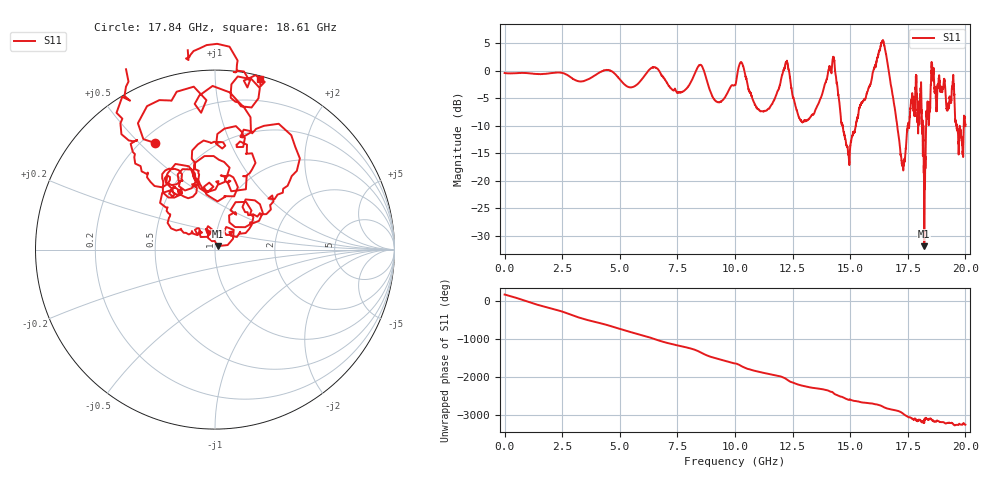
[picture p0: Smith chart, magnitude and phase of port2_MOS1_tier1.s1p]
! Created with skrf 1.8.0 (http://scikit-rf.org).
# GHz S RI R 50.0
!freq ReS11 ImS11
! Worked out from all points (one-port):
!   10001 points, 1 MHz to 20 GHz, reference 50 ohm
!   lowest |S11| = -31.9 dB at 18.22 GHz (marker M1), VSWR 1.05, Z = 51.6 + j2.04 ohm
!   |S11| at or under -10 dB: 14.67 GHz to 15.24 GHz (573.4 MHz wide, 3.83 % of centre); 17.04 GHz to 17.5 GHz (455.4 MHz wide, 2.64 % of centre); 19.62 GHz to 19.93 GHz (306.6 MHz wide, 1.55 % of centre) (the widest 3 of 11)
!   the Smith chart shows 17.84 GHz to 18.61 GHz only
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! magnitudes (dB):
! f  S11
! 1 MHz  -0.4
! 2.501 GHz  -0.4
! 5.001 GHz  -1.6
! 6.531 GHz  0.6
! 7.501 GHz  -4.0
! 8.481 GHz  1.0
! 9.221 GHz  -5.7
! 10 GHz  -2.6
! 10.29 GHz  1.5
! 10.88 GHz  -6.2
! 11.3 GHz  -7.3
! 12.23 GHz  1.6
! 12.5 GHz  -4.5
! 13.15 GHz  -8.9
! 14.28 GHz  2.3
! 14.69 GHz  -10.4
! 15 GHz  -14.0
! 16.4 GHz  5.4
! 17.25 GHz  -16.7
! 17.5 GHz  -10.0
! 17.81 GHz  -6.5
! 18.07 GHz  -3.3
! 18.22 GHz  -31.9
! 18.59 GHz  -1.2
! 19.25 GHz  -6.7
! 19.44 GHz  -2.6
! 19.8 GHz  -11.2
! 20 GHz  -10.1
